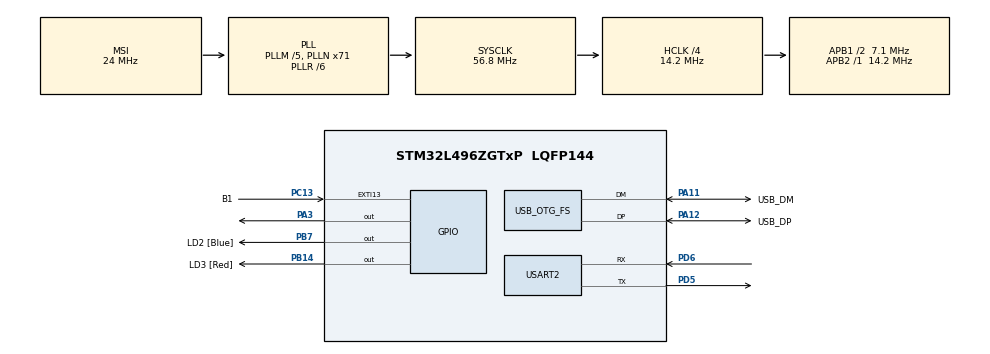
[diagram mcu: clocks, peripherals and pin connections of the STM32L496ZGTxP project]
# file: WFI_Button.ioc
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Mcu.Family=STM32L4
Mcu.Name=STM32L496ZGTxP
Mcu.Package=LQFP144
NVIC.EXTI15_10_IRQn=true\:0\:0\:false\:false\:true\:true\:true\:true
NVIC.OTG_FS_IRQn=true\:0\:0\:false\:false\:true\:true\:true\:true
NVIC.PriorityGroup=NVIC_PRIORITYGROUP_4
NVIC.USART2_IRQn=true\:0\:0\:false\:false\:true\:true\:true\:true
PA11.GPIO_Label=USB_DM
PA11.Mode=Host_Only
PA11.Signal=USB_OTG_FS_DM
PA12.GPIO_Label=USB_DP
PA12.Mode=Host_Only
PA12.Signal=USB_OTG_FS_DP
PA3.Signal=GPIO_Output
PB14.GPIO_Label=LD3 [Red]
PB14.Signal=GPIO_Output
PB7.GPIO_Label=LD2 [Blue]
PB7.Signal=GPIO_Output
PC13.GPIO_Label=B1
PC13.Signal=GPXTI13
PC14-OSC32_IN\ (PC14).Mode=LSE-External-Oscillator
PC14-OSC32_IN\ (PC14).Signal=RCC_OSC32_IN
PC15-OSC32_OUT\ (PC15).Mode=LSE-External-Oscillator
PC15-OSC32_OUT\ (PC15).Signal=RCC_OSC32_OUT
PD5.Mode=Asynchronous
PD5.Signal=USART2_TX
PD6.Mode=Asynchronous
PD6.Signal=USART2_RX
ProjectManager.HeapSize=0x200
ProjectManager.StackSize=0x400
ProjectManager.TargetToolchain=STM32CubeIDE
RCC.48MHZClocksFreq_Value=24000000
RCC.ADCFreq_Value=48000000
RCC.AHBCLKDivider=RCC_SYSCLK_DIV4
RCC.AHBFreq_Value=14200000
RCC.APB1CLKDivider=RCC_HCLK_DIV2
RCC.APB1Freq_Value=7100000
RCC.APB1TimFreq_Value=14200000
RCC.APB2Freq_Value=14200000
RCC.APB2TimFreq_Value=14200000
RCC.CortexFreq_Value=14200000
RCC.HCLKFreq_Value=14200000
RCC.HSE_VALUE=8000000
RCC.HSI48_VALUE=48000000
RCC.HSI_VALUE=16000000
RCC.MSIClockRange=RCC_MSIRANGE_9
RCC.MSI_VALUE=24000000
RCC.PLLM=5
RCC.PLLMUL=RCC_PLL_MUL9
RCC.PLLN=71
RCC.PLLR=RCC_PLLR_DIV6
RCC.PLLSAI1N=20
RCC.PRESCALERUSB=RCC_USBCLKSOURCE_PLL_DIV1_5
RCC.SYSCLKFreq_VALUE=56800000
RCC.SYSCLKSource=RCC_SYSCLKSOURCE_PLLCLK
RCC.SYSCLKSourceVirtual=RCC_SYSCLKSOURCE_PLLCLK
RCC.USBFreq_Value=48000000
RCC.VCOOutputFreq_Value=340800000
USART2.VirtualMode-Asynchronous=VM_ASYNC
USB_HOST.USBH_HandleTypeDef=hUsbHostFS
USB_HOST.VirtualModeFS=Audio
USB_OTG_FS.VirtualMode=Host_Only
USB_OTG_FS.phy_itface=HCD_PHY_EMBEDDED
VP_USB_HOST_VS_USB_HOST_AUDIO_FS.Mode=AUDIO_FS
board=NUCLEO-L496ZG-P

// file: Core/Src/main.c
/* USER CODE BEGIN Header */
/**
  ******************************************************************************
  * @file           : main.c
  * @brief          : Main program body
  ******************************************************************************
  * @attention
  *
  * Copyright (c) 2023 STMicroelectronics.
  * All rights reserved.
  *
  * This software is licensed under terms that can be found in the LICENSE file
  * in the root directory of this software component.
  * If no LICENSE file comes with this software, it is provided AS-IS.
  *
  ******************************************************************************
  */
/* USER CODE END Header */
#include "main.h"
#include "usb_host.h"

/* USER CODE BEGIN Includes */
#include <string.h>
/* USER CODE END Includes */

UART_HandleTypeDef huart2;

/* USER CODE BEGIN PV */
extern uint8_t some_data[];
/* USER CODE END PV */

void SystemClock_Config(void);
static void MX_GPIO_Init(void);
static void MX_USART2_UART_Init(void);
void MX_USB_HOST_Process(void);

/* USER CODE BEGIN PFP */
void GPIO_AnalogConfig(void);
/* USER CODE END PFP */

int main(void)
{
  /* USER CODE BEGIN 1 */
char msg[50]="Application is Running\r\n";
  /* USER CODE END 1 */

  /* MCU Configuration--------------------------------------------------------*/

  /* Reset of all peripherals, Initializes the Flash interface and the Systick. */
  HAL_Init();

  /* Configure the system clock */
  SystemClock_Config();

  /* Initialize all configured peripherals */
  MX_GPIO_Init();
  MX_USB_HOST_Init();
  MX_USART2_UART_Init();
  /* USER CODE BEGIN 2 */
  GPIO_AnalogConfig();
HAL_UART_Transmit(&huart2, (uint8_t*)msg, strlen(msg),HAL_MAX_DELAY);
  /* USER CODE END 2 */

  /* Infinite loop */
  while (1)
  {
    MX_USB_HOST_Process();

    /* USER CODE BEGIN 3 */
    __WFI();
  }
  /* USER CODE END 3 */
}

void SystemClock_Config(void)
{
  RCC_OscInitTypeDef RCC_OscInitStruct = {0};
  RCC_ClkInitTypeDef RCC_ClkInitStruct = {0};

  /** Configure the main internal regulator output voltage
  */
  if (HAL_PWREx_ControlVoltageScaling(PWR_REGULATOR_VOLTAGE_SCALE1) != HAL_OK)
  {
    Error_Handler();
  }

  /** Configure LSE Drive Capability
  */
  HAL_PWR_EnableBkUpAccess();
  __HAL_RCC_LSEDRIVE_CONFIG(RCC_LSEDRIVE_LOW);

  /** Initializes the RCC Oscillators according to the specified parameters
  * in the RCC_OscInitTypeDef structure.
  */
  RCC_OscInitStruct.OscillatorType = RCC_OSCILLATORTYPE_LSE|RCC_OSCILLATORTYPE_MSI;
  RCC_OscInitStruct.LSEState = RCC_LSE_ON;
  RCC_OscInitStruct.MSIState = RCC_MSI_ON;
  RCC_OscInitStruct.MSICalibrationValue = 0;
  RCC_OscInitStruct.MSIClockRange = RCC_MSIRANGE_9;
  RCC_OscInitStruct.PLL.PLLState = RCC_PLL_ON;
  RCC_OscInitStruct.PLL.PLLSource = RCC_PLLSOURCE_MSI;
  RCC_OscInitStruct.PLL.PLLM = 5;
  RCC_OscInitStruct.PLL.PLLN = 71;
  RCC_OscInitStruct.PLL.PLLP = RCC_PLLP_DIV2;
  RCC_OscInitStruct.PLL.PLLQ = RCC_PLLQ_DIV2;
  RCC_OscInitStruct.PLL.PLLR = RCC_PLLR_DIV6;
  if (HAL_RCC_OscConfig(&RCC_OscInitStruct) != HAL_OK)
  {
    Error_Handler();
  }

  /** Initializes the CPU, AHB and APB buses clocks
  */
  RCC_ClkInitStruct.ClockType = RCC_CLOCKTYPE_HCLK|RCC_CLOCKTYPE_SYSCLK
                              |RCC_CLOCKTYPE_PCLK1|RCC_CLOCKTYPE_PCLK2;
  RCC_ClkInitStruct.SYSCLKSource = RCC_SYSCLKSOURCE_PLLCLK;
  RCC_ClkInitStruct.AHBCLKDivider = RCC_SYSCLK_DIV4;
  RCC_ClkInitStruct.APB1CLKDivider = RCC_HCLK_DIV2;
  RCC_ClkInitStruct.APB2CLKDivider = RCC_HCLK_DIV1;

  if (HAL_RCC_ClockConfig(&RCC_ClkInitStruct, FLASH_LATENCY_0) != HAL_OK)
  {
    Error_Handler();
  }

  /** Enable MSI Auto calibration
  */
  HAL_RCCEx_EnableMSIPLLMode();
}

static void MX_USART2_UART_Init(void)
{

  huart2.Instance = USART2;
  huart2.Init.BaudRate = 115200;
  huart2.Init.WordLength = UART_WORDLENGTH_8B;
  huart2.Init.StopBits = UART_STOPBITS_1;
  huart2.Init.Parity = UART_PARITY_NONE;
  huart2.Init.Mode = UART_MODE_TX_RX;
  huart2.Init.HwFlowCtl = UART_HWCONTROL_NONE;
  huart2.Init.OverSampling = UART_OVERSAMPLING_16;
  huart2.Init.OneBitSampling = UART_ONE_BIT_SAMPLE_DISABLE;
  huart2.AdvancedInit.AdvFeatureInit = UART_ADVFEATURE_NO_INIT;
  if (HAL_UART_Init(&huart2) != HAL_OK)
  {
    Error_Handler();
  }

}

static void MX_GPIO_Init(void)
{
  GPIO_InitTypeDef GPIO_InitStruct = {0};

  /* GPIO Ports Clock Enable */
  __HAL_RCC_GPIOC_CLK_ENABLE();
 // __HAL_RCC_GPIOA_CLK_ENABLE();
 // __HAL_RCC_GPIOB_CLK_ENABLE();
  __HAL_RCC_GPIOD_CLK_ENABLE();
  __HAL_RCC_GPIOD_CLK_SLEEP_DISABLE();

  /*Configure GPIO pin Output Level */
  HAL_GPIO_WritePin(GPIOA, GPIO_PIN_3, GPIO_PIN_RESET);

  /*Configure GPIO pin Output Level */
  HAL_GPIO_WritePin(GPIOB, LD3_Pin|LD2_Pin, GPIO_PIN_RESET);

  /*Configure GPIO pin : B1_Pin */
  GPIO_InitStruct.Pin = B1_Pin;
  GPIO_InitStruct.Mode = GPIO_MODE_IT_RISING;
  GPIO_InitStruct.Pull = GPIO_NOPULL;
  HAL_GPIO_Init(B1_GPIO_Port, &GPIO_InitStruct);

  /*Configure GPIO pin : PA3 */
  GPIO_InitStruct.Pin = GPIO_PIN_3;
  GPIO_InitStruct.Mode = GPIO_MODE_OUTPUT_PP;
  GPIO_InitStruct.Pull = GPIO_NOPULL;
  GPIO_InitStruct.Speed = GPIO_SPEED_FREQ_LOW;
  HAL_GPIO_Init(GPIOA, &GPIO_InitStruct);

  /*Configure GPIO pins : LD3_Pin LD2_Pin */
  GPIO_InitStruct.Pin = LD3_Pin|LD2_Pin;
  GPIO_InitStruct.Mode = GPIO_MODE_OUTPUT_PP;
  GPIO_InitStruct.Pull = GPIO_NOPULL;
  GPIO_InitStruct.Speed = GPIO_SPEED_FREQ_LOW;
  HAL_GPIO_Init(GPIOB, &GPIO_InitStruct);

  /* EXTI interrupt init*/
  HAL_NVIC_SetPriority(EXTI15_10_IRQn, 0, 0);
  HAL_NVIC_EnableIRQ(EXTI15_10_IRQn);

}

/* USER CODE BEGIN 4 */
void GPIO_AnalogConfig(void)
{
	GPIO_InitTypeDef GpioD,GpioC;

	uint32_t gpio_pins = GPIO_PIN_0 | GPIO_PIN_1 |GPIO_PIN_2 | \
						 GPIO_PIN_3 | GPIO_PIN_4 |GPIO_PIN_7 |\
						 GPIO_PIN_8 | GPIO_PIN_9 |GPIO_PIN_10 |\
						 GPIO_PIN_11 | GPIO_PIN_12 |GPIO_PIN_13 | \
						 GPIO_PIN_14 | GPIO_PIN_15;

	GpioD.Pin = gpio_pins;
	GpioD.Mode = GPIO_MODE_ANALOG;
	HAL_GPIO_Init(GPIOD,&GpioD);

	gpio_pins = GPIO_PIN_0 | GPIO_PIN_1 |GPIO_PIN_2|  \
			    GPIO_PIN_3 | GPIO_PIN_4 |  GPIO_PIN_5 | \
			    GPIO_PIN_6 | GPIO_PIN_7 | GPIO_PIN_8 | \
			    GPIO_PIN_9 | GPIO_PIN_10 | GPIO_PIN_11 | \
			    GPIO_PIN_12 | GPIO_PIN_14 | GPIO_PIN_15;

	GpioC.Pin = gpio_pins;
	GpioC.Mode = GPIO_MODE_ANALOG;
	HAL_GPIO_Init(GPIOC,&GpioC);

}
void HAL_GPIO_EXTI_Callback(uint16_t GPIO_Pin){

	if( HAL_UART_Transmit(&huart2, (uint8_t*)some_data, (uint16_t)strlen((char*)some_data),HAL_MAX_DELAY) != HAL_OK){
		Error_Handler();
	}
}
/* USER CODE END 4 */

void Error_Handler(void)
{
  __disable_irq();
  while (1)
  {
  }
}
